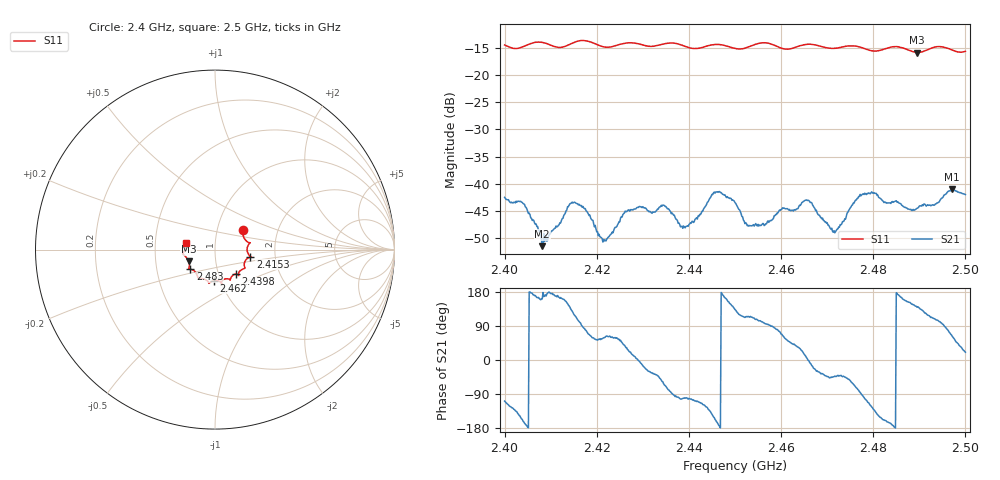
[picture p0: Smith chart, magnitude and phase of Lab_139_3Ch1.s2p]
# Hz S RI R 50
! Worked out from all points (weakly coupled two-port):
!   601 points, 2.4 GHz to 2.5 GHz, reference 50 ohm
!   highest |S21| = -40.99 dB at 2.497 GHz (marker M1); lowest = -51.4 dB at 2.4082 GHz (marker M2)
!   lowest |S11| = -15.9 dB at 2.4895 GHz (marker M3), VSWR 1.38, Z = 37 - j5 ohm
!   |S11| at or under -10 dB: start of sweep to end of sweep
!   S12 and S22 are empty: the file has one direction only
!   S11 on the Smith chart (normalised r, x): 2.4 GHz: 1.33, +0.29; 2.4153 GHz: 1.48, -0.12; 2.4398 GHz: 1.21, -0.34; 2.462 GHz: 0.93, -0.33; 2.483 GHz: 0.74, -0.17; 2.5 GHz: 0.72, +0.06
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2.4e9  0.1551 0.1066  -0.00239 -0.00715  0 0  0 0
2.404e9  0.1747 0.048  -0.00628 -0.00211  0 0  0 0
2.408167e9  0.1951 0.0371  -0.00254 0.000864  0 0  0 0
2.415333e9  0.1967 -0.0388  -0.00296 0.00605  0 0  0 0
2.416667e9  0.2022 -0.0428  -0.000225 0.00633  0 0  0 0
2.421667e9  0.1699 -0.0605  0.00155 0.00257  0 0  0 0
2.4265e9  0.1676 -0.1018  0.0047 0.00299  0 0  0 0
2.433333e9  0.1311 -0.1334  0.00434 -0.00395  0 0  0 0
2.434833e9  0.1306 -0.1427  0.0024 -0.00574  0 0  0 0
2.439833e9  0.1154 -0.1364  -0.00094 -0.00397  0 0  0 0
2.445667e9  0.0847 -0.1702  -0.00756 -0.00327  0 0  0 0
2.45e9  0.0648 -0.1625  -0.00461 0.00493  0 0  0 0
2.453167e9  0.0376 -0.178  -0.00163 0.00383  0 0  0 0
2.462e9  -0.00518 -0.1732  0.00395 0.0041  0 0  0 0
2.466667e9  -0.0343 -0.1876  0.00648 -0.00175  0 0  0 0
2.471667e9  -0.0661 -0.1623  0.00263 -0.00241  0 0  0 0
2.477333e9  -0.0968 -0.1506  0.000217 -0.00777  0 0  0 0
2.483e9  -0.1377 -0.1096  -0.00643 -0.00194  0 0  0 0
2.483333e9  -0.1401 -0.1094  -0.00646 -0.00176  0 0  0 0
2.4895e9  -0.1462 -0.066  -0.00454 0.00389  0 0  0 0
2.497e9  -0.1696 -0.00705  0.00365 0.00814  0 0  0 0
2.5e9  -0.1598 0.0391  0.00747 0.0028  0 0  0 0
